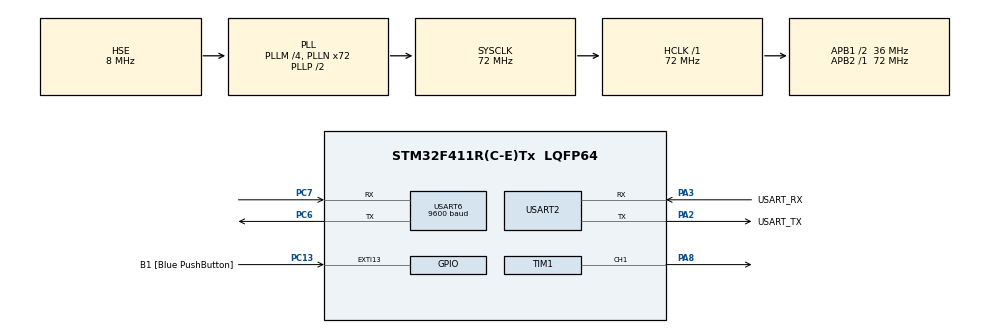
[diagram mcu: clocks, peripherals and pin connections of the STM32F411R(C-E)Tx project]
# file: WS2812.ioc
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Mcu.Family=STM32F4
RCC.PLLSourceVirtual=RCC_PLLSOURCE_HSE
RCC.CortexFreq_Value=72000000
PC13-ANTI_TAMP.GPIO_Label=B1 [Blue PushButton]
PA14.GPIO_Label=TCK
PH1\ -\ OSC_OUT.Mode=HSE-External-Clock-Source
PC6.Signal=USART6_TX
Dma.TIM1_CH1.0.MemDataAlignment=DMA_MDATAALIGN_HALFWORD
Dma.TIM1_CH1.0.FIFOMode=DMA_FIFOMODE_DISABLE
NVIC.DMA2_Stream1_IRQn=true\:0\:0\:false\:false\:true\:false\:true
RCC.APB1CLKDivider=RCC_HCLK_DIV2
PC14-OSC32_IN.Signal=RCC_OSC32_IN
Dma.TIM1_CH1.0.PeriphDataAlignment=DMA_PDATAALIGN_HALFWORD
Dma.TIM1_CH1.0.Priority=DMA_PRIORITY_LOW
RCC.SYSCLKSource=RCC_SYSCLKSOURCE_PLLCLK
ProjectManager.StackSize=0x400
NVIC.USART6_IRQn=true\:0\:0\:false\:false\:true\:true\:true
Dma.TIM1_CH1.0.PeriphInc=DMA_PINC_DISABLE
Dma.TIM1_CH1.0.MemInc=DMA_MINC_ENABLE
PA13.Signal=SYS_JTMS-SWDIO
PA3.Mode=Asynchronous
PH0\ -\ OSC_IN.Mode=HSE-External-Clock-Source
Dma.TIM1_CH1.0.Mode=DMA_NORMAL
SH.S_TIM1_CH1.0=TIM1_CH1,PWM Generation1 CH1
PH0\ -\ OSC_IN.Signal=RCC_OSC_IN
ProjectManager.TargetToolchain=STM32CubeIDE
PC6.Mode=Asynchronous
RCC.HCLKFreq_Value=72000000
RCC.APB2TimFreq_Value=72000000
PC7.Signal=USART6_RX
RCC.LSE_VALUE=32768
PC15-OSC32_OUT.Signal=RCC_OSC32_OUT
RCC.AHBFreq_Value=72000000
RCC.HSE_VALUE=8000000
PH1\ -\ OSC_OUT.Signal=RCC_OSC_OUT
board=NUCLEO-F411RE
PC13-ANTI_TAMP.Signal=GPXTI13
RCC.VCOOutputFreq_Value=144000000
RCC.APB2Freq_Value=72000000
TIM1.Channel-PWM\ Generation1\ CH1=TIM_CHANNEL_1
PA14.Mode=Serial_Wire
PA8.Signal=S_TIM1_CH1
PA13.Mode=Serial_Wire
Mcu.Name=STM32F411R(C-E)Tx
VP_TIM1_VS_ClockSourceINT.Mode=Internal
PA2.Signal=USART2_TX
PA13.GPIO_Label=TMS
RCC.FLatency-AdvancedSettings=FLASH_LATENCY_2
Dma.TIM1_CH1.0.Direction=DMA_MEMORY_TO_PERIPH
RCC.48MHZClocksFreq_Value=36000000
PB3.Signal=SYS_JTDO-SWO
RCC.SYSCLKFreq_VALUE=72000000
Mcu.Package=LQFP64
Dma.TIM1_CH1.0.Instance=DMA2_Stream1
USART2.VirtualMode=VM_ASYNC
USART6.VirtualMode=VM_ASYNC
PC13-ANTI_TAMP.GPIO_ModeDefaultEXTI=GPIO_MODE_IT_FALLING
PA2.GPIO_Label=USART_TX
PA14.Signal=SYS_JTCK-SWCLK
ProjectManager.HeapSize=0x200
USART6.BaudRate=9600
RCC.HSI_VALUE=16000000
NVIC.PriorityGroup=NVIC_PRIORITYGROUP_0
RCC.PLLM=4
RCC.PLLN=72
RCC.APB1TimFreq_Value=72000000
PA2.Mode=Asynchronous
TIM1.Period=90-1
PC7.Mode=Asynchronous
Dma.Request0=TIM1_CH1
RCC.APB1Freq_Value=36000000
PA3.GPIO_Label=USART_RX
PA3.Signal=USART2_RX
PB3.GPIO_Label=SWO

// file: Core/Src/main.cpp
/* USER CODE BEGIN Header */
/**
  ******************************************************************************
  * @file           : main.c
  * @brief          : Main program body
  ******************************************************************************
  * @attention
  *
  * <h2><center>&copy; Copyright (c) 2021 STMicroelectronics.
  * All rights reserved.</center></h2>
  *
  * This software component is licensed by ST under BSD 3-Clause license,
  * the "License"; You may not use this file except in compliance with the
  * License. You may obtain a copy of the License at:
  *                        opensource.org/licenses/BSD-3-Clause
  *
  ******************************************************************************
  */
/* USER CODE END Header */
#include "main.h"

/* USER CODE BEGIN Includes */
#include "led_strip.h"
/* USER CODE END Includes */

TIM_HandleTypeDef htim1;
DMA_HandleTypeDef hdma_tim1_ch1;

UART_HandleTypeDef huart2;
UART_HandleTypeDef huart6;

/* USER CODE BEGIN PV */

LEDStrip *my_strip;
uint8_t rx_data[6];
uint8_t ldr_data = 0;
bool auto_brightness = false;
bool sent_flag = false;

int x = 0;
/* USER CODE END PV */

void SystemClock_Config(void);
static void MX_GPIO_Init(void);
static void MX_DMA_Init(void);
static void MX_USART2_UART_Init(void);
static void MX_TIM1_Init(void);
static void MX_USART6_UART_Init(void);

/* USER CODE BEGIN 0 */

void HAL_TIM_PWM_PulseFinishedCallback(TIM_HandleTypeDef *htim)
{
	HAL_TIM_PWM_Stop_DMA(&htim1, TIM_CHANNEL_1);
	sent_flag = true;
}

void HAL_UART_RxCpltCallback(UART_HandleTypeDef *huart)
{
	x = 10;

	if (rx_data[1] == 1) // Brightness
	{
		if (rx_data[2] == 0) // Manual
		{
			my_strip->set_brightness(rx_data[3]);
			my_strip->update();
		}
		else if (rx_data[2] == 1) // Auto
		{
			if (rx_data[3] == 0) // Off
			{
				auto_brightness = false;

				my_strip->set_brightness(rx_data[4]);
				my_strip->update();
			}
			else if (rx_data[3] == 1) // On
			{
				auto_brightness = true;
			}
		}
	}
	else if (rx_data[1] == 2) // Single color set
	{
		x = 20;
		my_strip->set_single_color(rx_data[2], rx_data[3], rx_data[4]);
		x = 30;
		my_strip->update();
		x = 40;
	}
	else
	{
		// Just ignore
	}

	HAL_UART_Receive_IT(huart, rx_data, 6);

	x = 100;
}

/* USER CODE END 0 */

int main(void)
{

  /* MCU Configuration--------------------------------------------------------*/

  /* Reset of all peripherals, Initializes the Flash interface and the Systick. */
  HAL_Init();

  /* Configure the system clock */
  SystemClock_Config();

  /* Initialize all configured peripherals */
  MX_GPIO_Init();
  MX_DMA_Init();
  MX_USART2_UART_Init();
  MX_TIM1_Init();
  MX_USART6_UART_Init();
  /* USER CODE BEGIN 2 */

  LEDStrip strip(16, &sent_flag,  &htim1, TIM_CHANNEL_1, &x);
  my_strip = &strip;

  /* USER CODE END 2 */
  HAL_UART_Receive_IT(&huart6, rx_data, 6);
  /* Infinite loop */
  while (1)
  {
	  /*
	  HAL_UART_Receive(&huart6, rx_data, 6, 1000);

	  if (rx_data[1] == 1) // Brightness
	  {
		  if (rx_data[2] == 0) // Manual
		  {
			  my_strip->set_brightness(rx_data[3]);
			  my_strip->update();
		  }
		  else if (rx_data[2] == 1) // Auto
		  {
			  if (rx_data[3] == 0) // Off
			  {
				  auto_brightness = false;

				  my_strip->set_brightness(rx_data[4]);
				  my_strip->update();
			  }
			  else if (rx_data[3] == 1) // On
			  {
				  auto_brightness = true;
			  }
		  }
	  }
	  else if (rx_data[1] == 2) // Single color set
	  {
		  my_strip->set_single_color(rx_data[2], rx_data[3], rx_data[4]);
		  my_strip->update();
	  }
	  else
	  {
		  // Just ignore
	  }

	  rx_data[1] = 0; // Reset
	*/
  }
}

void SystemClock_Config(void)
{
  RCC_OscInitTypeDef RCC_OscInitStruct = {0};
  RCC_ClkInitTypeDef RCC_ClkInitStruct = {0};

  /** Configure the main internal regulator output voltage
  */
  __HAL_RCC_PWR_CLK_ENABLE();
  __HAL_PWR_VOLTAGESCALING_CONFIG(PWR_REGULATOR_VOLTAGE_SCALE1);
  /** Initializes the RCC Oscillators according to the specified parameters
  * in the RCC_OscInitTypeDef structure.
  */
  RCC_OscInitStruct.OscillatorType = RCC_OSCILLATORTYPE_HSE;
  RCC_OscInitStruct.HSEState = RCC_HSE_BYPASS;
  RCC_OscInitStruct.PLL.PLLState = RCC_PLL_ON;
  RCC_OscInitStruct.PLL.PLLSource = RCC_PLLSOURCE_HSE;
  RCC_OscInitStruct.PLL.PLLM = 4;
  RCC_OscInitStruct.PLL.PLLN = 72;
  RCC_OscInitStruct.PLL.PLLP = RCC_PLLP_DIV2;
  RCC_OscInitStruct.PLL.PLLQ = 4;
  if (HAL_RCC_OscConfig(&RCC_OscInitStruct) != HAL_OK)
  {
    Error_Handler();
  }
  /** Initializes the CPU, AHB and APB buses clocks
  */
  RCC_ClkInitStruct.ClockType = RCC_CLOCKTYPE_HCLK|RCC_CLOCKTYPE_SYSCLK
                              |RCC_CLOCKTYPE_PCLK1|RCC_CLOCKTYPE_PCLK2;
  RCC_ClkInitStruct.SYSCLKSource = RCC_SYSCLKSOURCE_PLLCLK;
  RCC_ClkInitStruct.AHBCLKDivider = RCC_SYSCLK_DIV1;
  RCC_ClkInitStruct.APB1CLKDivider = RCC_HCLK_DIV2;
  RCC_ClkInitStruct.APB2CLKDivider = RCC_HCLK_DIV1;

  if (HAL_RCC_ClockConfig(&RCC_ClkInitStruct, FLASH_LATENCY_2) != HAL_OK)
  {
    Error_Handler();
  }
}

static void MX_TIM1_Init(void)
{

  TIM_ClockConfigTypeDef sClockSourceConfig = {0};
  TIM_MasterConfigTypeDef sMasterConfig = {0};
  TIM_OC_InitTypeDef sConfigOC = {0};
  TIM_BreakDeadTimeConfigTypeDef sBreakDeadTimeConfig = {0};

  htim1.Instance = TIM1;
  htim1.Init.Prescaler = 0;
  htim1.Init.CounterMode = TIM_COUNTERMODE_UP;
  htim1.Init.Period = 90-1;
  htim1.Init.ClockDivision = TIM_CLOCKDIVISION_DIV1;
  htim1.Init.RepetitionCounter = 0;
  htim1.Init.AutoReloadPreload = TIM_AUTORELOAD_PRELOAD_DISABLE;
  if (HAL_TIM_Base_Init(&htim1) != HAL_OK)
  {
    Error_Handler();
  }
  sClockSourceConfig.ClockSource = TIM_CLOCKSOURCE_INTERNAL;
  if (HAL_TIM_ConfigClockSource(&htim1, &sClockSourceConfig) != HAL_OK)
  {
    Error_Handler();
  }
  if (HAL_TIM_PWM_Init(&htim1) != HAL_OK)
  {
    Error_Handler();
  }
  sMasterConfig.MasterOutputTrigger = TIM_TRGO_RESET;
  sMasterConfig.MasterSlaveMode = TIM_MASTERSLAVEMODE_DISABLE;
  if (HAL_TIMEx_MasterConfigSynchronization(&htim1, &sMasterConfig) != HAL_OK)
  {
    Error_Handler();
  }
  sConfigOC.OCMode = TIM_OCMODE_PWM1;
  sConfigOC.Pulse = 0;
  sConfigOC.OCPolarity = TIM_OCPOLARITY_HIGH;
  sConfigOC.OCNPolarity = TIM_OCNPOLARITY_HIGH;
  sConfigOC.OCFastMode = TIM_OCFAST_DISABLE;
  sConfigOC.OCIdleState = TIM_OCIDLESTATE_RESET;
  sConfigOC.OCNIdleState = TIM_OCNIDLESTATE_RESET;
  if (HAL_TIM_PWM_ConfigChannel(&htim1, &sConfigOC, TIM_CHANNEL_1) != HAL_OK)
  {
    Error_Handler();
  }
  sBreakDeadTimeConfig.OffStateRunMode = TIM_OSSR_DISABLE;
  sBreakDeadTimeConfig.OffStateIDLEMode = TIM_OSSI_DISABLE;
  sBreakDeadTimeConfig.LockLevel = TIM_LOCKLEVEL_OFF;
  sBreakDeadTimeConfig.DeadTime = 0;
  sBreakDeadTimeConfig.BreakState = TIM_BREAK_DISABLE;
  sBreakDeadTimeConfig.BreakPolarity = TIM_BREAKPOLARITY_HIGH;
  sBreakDeadTimeConfig.AutomaticOutput = TIM_AUTOMATICOUTPUT_DISABLE;
  if (HAL_TIMEx_ConfigBreakDeadTime(&htim1, &sBreakDeadTimeConfig) != HAL_OK)
  {
    Error_Handler();
  }
  HAL_TIM_MspPostInit(&htim1);

}

static void MX_USART2_UART_Init(void)
{

  huart2.Instance = USART2;
  huart2.Init.BaudRate = 115200;
  huart2.Init.WordLength = UART_WORDLENGTH_8B;
  huart2.Init.StopBits = UART_STOPBITS_1;
  huart2.Init.Parity = UART_PARITY_NONE;
  huart2.Init.Mode = UART_MODE_TX_RX;
  huart2.Init.HwFlowCtl = UART_HWCONTROL_NONE;
  huart2.Init.OverSampling = UART_OVERSAMPLING_16;
  if (HAL_UART_Init(&huart2) != HAL_OK)
  {
    Error_Handler();
  }

}

static void MX_USART6_UART_Init(void)
{

  huart6.Instance = USART6;
  huart6.Init.BaudRate = 9600;
  huart6.Init.WordLength = UART_WORDLENGTH_8B;
  huart6.Init.StopBits = UART_STOPBITS_1;
  huart6.Init.Parity = UART_PARITY_NONE;
  huart6.Init.Mode = UART_MODE_TX_RX;
  huart6.Init.HwFlowCtl = UART_HWCONTROL_NONE;
  huart6.Init.OverSampling = UART_OVERSAMPLING_16;
  if (HAL_UART_Init(&huart6) != HAL_OK)
  {
    Error_Handler();
  }

}

static void MX_DMA_Init(void)
{

  /* DMA controller clock enable */
  __HAL_RCC_DMA2_CLK_ENABLE();

  /* DMA interrupt init */
  /* DMA2_Stream1_IRQn interrupt configuration */
  HAL_NVIC_SetPriority(DMA2_Stream1_IRQn, 0, 0);
  HAL_NVIC_EnableIRQ(DMA2_Stream1_IRQn);

}

static void MX_GPIO_Init(void)
{
  GPIO_InitTypeDef GPIO_InitStruct = {0};

  /* GPIO Ports Clock Enable */
  __HAL_RCC_GPIOC_CLK_ENABLE();
  __HAL_RCC_GPIOH_CLK_ENABLE();
  __HAL_RCC_GPIOA_CLK_ENABLE();
  __HAL_RCC_GPIOB_CLK_ENABLE();

  /*Configure GPIO pin : B1_Pin */
  GPIO_InitStruct.Pin = B1_Pin;
  GPIO_InitStruct.Mode = GPIO_MODE_IT_FALLING;
  GPIO_InitStruct.Pull = GPIO_NOPULL;
  HAL_GPIO_Init(B1_GPIO_Port, &GPIO_InitStruct);

}

void Error_Handler(void)
{
  __disable_irq();
  while (1)
  {
  }
}

/************************ (C) COPYRIGHT STMicroelectronics *****END OF FILE****/
